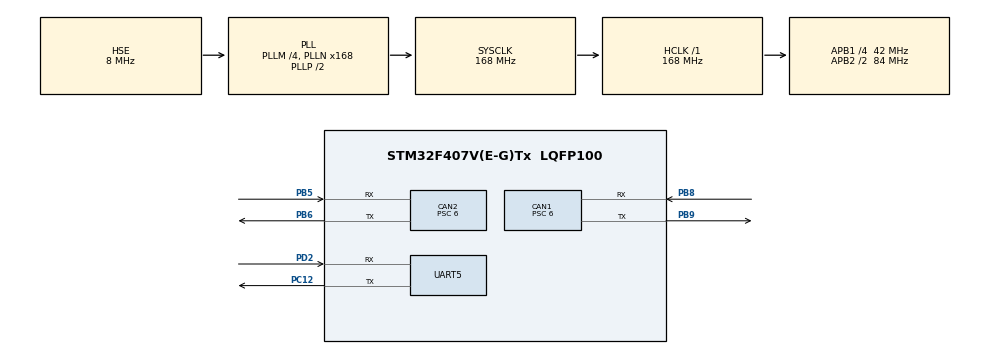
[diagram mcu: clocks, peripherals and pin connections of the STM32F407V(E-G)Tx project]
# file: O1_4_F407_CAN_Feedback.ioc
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CAN1.BS1=CAN_BS1_8TQ
CAN1.BS2=CAN_BS2_5TQ
CAN1.CalculateBaudRate=500000
CAN1.CalculateTimeBit=2000
CAN1.CalculateTimeQuantum=142.85714285714286
CAN1.Prescaler=6
CAN2.BS1=CAN_BS1_8TQ
CAN2.BS2=CAN_BS2_5TQ
CAN2.CalculateBaudRate=500000
CAN2.CalculateTimeBit=2000
CAN2.CalculateTimeQuantum=142.85714285714286
CAN2.Prescaler=6
Mcu.Family=STM32F4
Mcu.Name=STM32F407V(E-G)Tx
Mcu.Package=LQFP100
NVIC.CAN1_RX0_IRQn=true\:0\:0\:false\:false\:true\:true\:true\:true
NVIC.CAN1_RX1_IRQn=true\:0\:0\:false\:false\:true\:true\:true\:true
NVIC.PriorityGroup=NVIC_PRIORITYGROUP_4
NVIC.UART5_IRQn=true\:0\:0\:false\:false\:true\:true\:true\:true
PA13.Mode=Serial_Wire
PA13.Signal=SYS_JTMS-SWDIO
PA14.Mode=Serial_Wire
PA14.Signal=SYS_JTCK-SWCLK
PB5.Mode=CAN_Activate
PB5.Signal=CAN2_RX
PB6.Mode=CAN_Activate
PB6.Signal=CAN2_TX
PB8.Mode=CAN_Activate
PB8.Signal=CAN1_RX
PB9.Mode=CAN_Activate
PB9.Signal=CAN1_TX
PC12.Mode=Asynchronous
PC12.Signal=UART5_TX
PD2.Mode=Asynchronous
PD2.Signal=UART5_RX
PH0-OSC_IN.Mode=HSE-External-Oscillator
PH0-OSC_IN.Signal=RCC_OSC_IN
PH1-OSC_OUT.Mode=HSE-External-Oscillator
PH1-OSC_OUT.Signal=RCC_OSC_OUT
ProjectManager.HeapSize=0x200
ProjectManager.StackSize=0x400
ProjectManager.TargetToolchain=STM32CubeIDE
RCC.48MHZClocksFreq_Value=84000000
RCC.AHBFreq_Value=168000000
RCC.APB1CLKDivider=RCC_HCLK_DIV4
RCC.APB1Freq_Value=42000000
RCC.APB1TimFreq_Value=84000000
RCC.APB2CLKDivider=RCC_HCLK_DIV2
RCC.APB2Freq_Value=84000000
RCC.APB2TimFreq_Value=168000000
RCC.CortexFreq_Value=168000000
RCC.HCLKFreq_Value=168000000
RCC.HSE_VALUE=8000000
RCC.HSI_VALUE=16000000
RCC.LSE_VALUE=32768
RCC.PLLM=4
RCC.PLLN=168
RCC.PLLSourceVirtual=RCC_PLLSOURCE_HSE
RCC.SYSCLKFreq_VALUE=168000000
RCC.SYSCLKSource=RCC_SYSCLKSOURCE_PLLCLK
RCC.VCOOutputFreq_Value=336000000
UART5.VirtualMode=Asynchronous
board=custom

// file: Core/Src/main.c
/* USER CODE BEGIN Header */
/**
  ******************************************************************************
  * @file           : main.c
  * @brief          : Main program body
  ******************************************************************************
  * @attention
  *
  * Copyright (c) 2025 STMicroelectronics.
  * All rights reserved.
  *
  * This software is licensed under terms that can be found in the LICENSE file
  * in the root directory of this software component.
  * If no LICENSE file comes with this software, it is provided AS-IS.
  *
  ******************************************************************************
  */
/* USER CODE END Header */
#include "main.h"
#include "can.h"
#include "usart.h"
#include "gpio.h"

/* USER CODE BEGIN Includes */

#include "FS-iA6B.h"
#include <string.h>

/* USER CODE END Includes */

/* USER CODE BEGIN PTD */

extern uint8_t ibus_rx_buf[32];  // Ibus
extern uint8_t ibus_rx_cplt_flag;

typedef struct {
	uint8_t data[8];
}FeedbackESC_t;

FeedbackESC_t data1;

/* USER CODE END PTD */

void SystemClock_Config(void);

int main(void)
{

  /* MCU Configuration--------------------------------------------------------*/

  /* Reset of all peripherals, Initializes the Flash interface and the Systick. */
  HAL_Init();

  /* Configure the system clock */
  SystemClock_Config();

  /* Initialize all configured peripherals */
  MX_GPIO_Init();
  MX_CAN1_Init();
  MX_UART5_Init();
  MX_CAN2_Init();
  /* USER CODE BEGIN 2 */

  LL_USART_EnableIT_RXNE(UART5); // bat ngat ibus

  HAL_CAN_Start(&hcan1);
  HAL_CAN_ActivateNotification(&hcan1, CAN_IT_RX_FIFO0_MSG_PENDING);

  /* USER CODE END 2 */

  /* Infinite loop */
  /* USER CODE BEGIN WHILE */
  while (1)
  {

	// Check Connect IBus
	if(ibus_rx_cplt_flag == 1)
	{
	  ibus_rx_cplt_flag = 0;
	  if(iBus_Check_CHKSUM(&ibus_rx_buf[0], 32) == 1)
	  {
		  iBus_Parsing(&ibus_rx_buf[0], &iBus);
	  }
	}

    /* USER CODE END WHILE */

  }
}

void SystemClock_Config(void)
{
  RCC_OscInitTypeDef RCC_OscInitStruct = {0};
  RCC_ClkInitTypeDef RCC_ClkInitStruct = {0};

  /** Configure the main internal regulator output voltage
  */
  __HAL_RCC_PWR_CLK_ENABLE();
  __HAL_PWR_VOLTAGESCALING_CONFIG(PWR_REGULATOR_VOLTAGE_SCALE1);

  /** Initializes the RCC Oscillators according to the specified parameters
  * in the RCC_OscInitTypeDef structure.
  */
  RCC_OscInitStruct.OscillatorType = RCC_OSCILLATORTYPE_HSE;
  RCC_OscInitStruct.HSEState = RCC_HSE_ON;
  RCC_OscInitStruct.PLL.PLLState = RCC_PLL_ON;
  RCC_OscInitStruct.PLL.PLLSource = RCC_PLLSOURCE_HSE;
  RCC_OscInitStruct.PLL.PLLM = 4;
  RCC_OscInitStruct.PLL.PLLN = 168;
  RCC_OscInitStruct.PLL.PLLP = RCC_PLLP_DIV2;
  RCC_OscInitStruct.PLL.PLLQ = 4;
  if (HAL_RCC_OscConfig(&RCC_OscInitStruct) != HAL_OK)
  {
    Error_Handler();
  }

  /** Initializes the CPU, AHB and APB buses clocks
  */
  RCC_ClkInitStruct.ClockType = RCC_CLOCKTYPE_HCLK|RCC_CLOCKTYPE_SYSCLK
                              |RCC_CLOCKTYPE_PCLK1|RCC_CLOCKTYPE_PCLK2;
  RCC_ClkInitStruct.SYSCLKSource = RCC_SYSCLKSOURCE_PLLCLK;
  RCC_ClkInitStruct.AHBCLKDivider = RCC_SYSCLK_DIV1;
  RCC_ClkInitStruct.APB1CLKDivider = RCC_HCLK_DIV4;
  RCC_ClkInitStruct.APB2CLKDivider = RCC_HCLK_DIV2;

  if (HAL_RCC_ClockConfig(&RCC_ClkInitStruct, FLASH_LATENCY_5) != HAL_OK)
  {
    Error_Handler();
  }
}

/* USER CODE BEGIN 4 */

void HAL_CAN_RxFifo0MsgPendingCallback(CAN_HandleTypeDef *hcan)
{
	CAN_RxHeaderTypeDef rxHeader;
	uint8_t rxData[8];

	HAL_CAN_GetRxMessage(&hcan1, CAN_RX_FIFO0, &rxHeader, rxData);

	if (rxHeader.IDE == CAN_ID_EXT) {
		switch (rxHeader.ExtId) {
			case CAN_ID(VESC1,MSG_TYPE_HALL):
				memcpy(data1.data, rxData, 8);
				break;
		}
	}
}

/* USER CODE END 4 */

void Error_Handler(void)
{
  __disable_irq();
  while (1)
  {
  }
}
